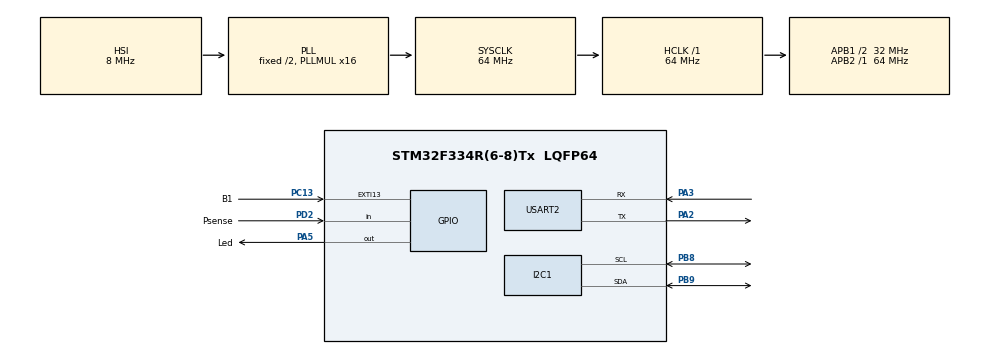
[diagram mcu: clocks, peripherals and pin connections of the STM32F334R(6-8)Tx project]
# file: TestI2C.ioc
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Dma.I2C1_RX.0.Direction=DMA_PERIPH_TO_MEMORY
Dma.I2C1_RX.0.Instance=DMA1_Channel5
Dma.I2C1_RX.0.MemDataAlignment=DMA_MDATAALIGN_BYTE
Dma.I2C1_RX.0.MemInc=DMA_MINC_ENABLE
Dma.I2C1_RX.0.Mode=DMA_NORMAL
Dma.I2C1_RX.0.PeriphDataAlignment=DMA_PDATAALIGN_BYTE
Dma.I2C1_RX.0.PeriphInc=DMA_PINC_DISABLE
Dma.I2C1_RX.0.Priority=DMA_PRIORITY_LOW
Dma.Request0=I2C1_RX
I2C1.Speed=100
I2C1.Timing=0x2000090E
Mcu.Family=STM32F3
Mcu.Name=STM32F334R(6-8)Tx
Mcu.Package=LQFP64
NVIC.DMA1_Channel5_IRQn=true\:0\:0\:false\:false\:true\:false\:true
NVIC.EXTI15_10_IRQn=true\:0\:0\:false\:false\:true\:true\:true
NVIC.I2C1_EV_IRQn=true\:0\:0\:false\:false\:true\:true\:true
NVIC.PriorityGroup=NVIC_PRIORITYGROUP_4
NVIC.TIM1_BRK_TIM15_IRQn=true\:0\:0\:false\:false\:true\:true\:true
NVIC.TIM1_CC_IRQn=true\:0\:0\:false\:false\:true\:true\:true
NVIC.TIM1_TRG_COM_TIM17_IRQn=true\:0\:0\:false\:false\:true\:true\:true
NVIC.TIM1_UP_TIM16_IRQn=true\:0\:0\:false\:false\:true\:true\:true
NVIC.USART2_IRQn=true\:0\:0\:false\:false\:true\:true\:true
PA2.Mode=Asynchronous
PA2.Signal=USART2_TX
PA3.Mode=Asynchronous
PA3.Signal=USART2_RX
PA5.GPIO_Label=Led
PA5.Signal=GPIO_Output
PB8.Mode=I2C
PB8.Signal=I2C1_SCL
PB9.Mode=I2C
PB9.Signal=I2C1_SDA
PC13.GPIO_Label=B1
PC13.GPIO_ModeDefaultEXTI=GPIO_MODE_IT_FALLING
PC13.Signal=GPXTI13
PD2.GPIO_Label=Psense
PD2.Signal=GPIO_Input
ProjectManager.HeapSize=0x200
ProjectManager.StackSize=0x400
ProjectManager.TargetToolchain=Other Toolchains (GPDSC)
RCC.AHBFreq_Value=64000000
RCC.APB1CLKDivider=RCC_HCLK_DIV2
RCC.APB1Freq_Value=32000000
RCC.APB1TimFreq_Value=64000000
RCC.APB2Freq_Value=64000000
RCC.APB2TimFreq_Value=64000000
RCC.CortexFreq_Value=64000000
RCC.HCLKFreq_Value=64000000
RCC.HSE_VALUE=8000000
RCC.HSI_VALUE=8000000
RCC.LSE_VALUE=32768
RCC.PLLMUL=RCC_PLL_MUL16
RCC.SYSCLKFreq_VALUE=64000000
RCC.SYSCLKSourceVirtual=RCC_SYSCLKSOURCE_PLLCLK
TIM1.Channel-Output\ Compare1\ No\ Output=TIM_CHANNEL_1
TIM1.Period=9999
TIM1.Prescaler=63
TIM1.Pulse-Output\ Compare1\ No\ Output=4999
USART2.VirtualMode-Asynchronous=VM_ASYNC
USART2.WordLength=WORDLENGTH_8B
VP_TIM1_VS_ClockSourceINT.Mode=Internal
VP_TIM1_VS_no_output1.Mode=Output Compare1 No Output
board=TestI2C

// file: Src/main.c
/* USER CODE BEGIN Header */
/**
  ******************************************************************************
  * @file           : main.c
  * @brief          : Main program body
  ******************************************************************************
  * @attention
  *
  * <h2><center>&copy; Copyright (c) 2020 STMicroelectronics.
  * All rights reserved.</center></h2>
  *
  * This software component is licensed by ST under BSD 3-Clause license,
  * the "License"; You may not use this file except in compliance with the
  * License. You may obtain a copy of the License at:
  *                        opensource.org/licenses/BSD-3-Clause
  *
  ******************************************************************************
  */
/* USER CODE END Header */

#include "main.h"
#include "dma.h"
#include "i2c.h"
#include "tim.h"
#include "usart.h"
#include "gpio.h"

/* USER CODE BEGIN Includes */
#include "SensorReport.h"

/* USER CODE END Includes */

void SystemClock_Config(void);

int main(void)
{
  /* USER CODE BEGIN 1 */
	DWT->CYCCNT = 0;
	// Enable hi resolution counter
	DWT->CTRL &= ~0x00000001;
	DWT->CTRL |= 0x00000001;
  /* USER CODE END 1 */

  /* MCU Configuration--------------------------------------------------------*/

  /* Reset of all peripherals, Initializes the Flash interface and the Systick. */
  HAL_Init();

  /* Configure the system clock */
  SystemClock_Config();

  /* Initialize all configured peripherals */
  MX_GPIO_Init();
  MX_DMA_Init();
  MX_I2C1_Init();
  MX_TIM1_Init();
  MX_USART2_UART_Init();
  /* USER CODE BEGIN 2 */

  initializeSensorReport();

	HAL_TIM_Base_Start_IT(&htim1); // will call the PeriodElapsed IT

  /* USER CODE END 2 */

  /* Infinite loop */
  while (1)
  {

    /* USER CODE BEGIN 3 */

	  doReport();
	  HAL_Delay(1000);
  }
  /* USER CODE END 3 */
}

void SystemClock_Config(void)
{
  RCC_OscInitTypeDef RCC_OscInitStruct = {0};
  RCC_ClkInitTypeDef RCC_ClkInitStruct = {0};
  RCC_PeriphCLKInitTypeDef PeriphClkInit = {0};

  /** Initializes the CPU, AHB and APB busses clocks
  */
  RCC_OscInitStruct.OscillatorType = RCC_OSCILLATORTYPE_HSI;
  RCC_OscInitStruct.HSIState = RCC_HSI_ON;
  RCC_OscInitStruct.HSICalibrationValue = RCC_HSICALIBRATION_DEFAULT;
  RCC_OscInitStruct.PLL.PLLState = RCC_PLL_ON;
  RCC_OscInitStruct.PLL.PLLSource = RCC_PLLSOURCE_HSI;
  RCC_OscInitStruct.PLL.PLLMUL = RCC_PLL_MUL16;
  if (HAL_RCC_OscConfig(&RCC_OscInitStruct) != HAL_OK)
  {
    Error_Handler();
  }
  /** Initializes the CPU, AHB and APB busses clocks
  */
  RCC_ClkInitStruct.ClockType = RCC_CLOCKTYPE_HCLK|RCC_CLOCKTYPE_SYSCLK
                              |RCC_CLOCKTYPE_PCLK1|RCC_CLOCKTYPE_PCLK2;
  RCC_ClkInitStruct.SYSCLKSource = RCC_SYSCLKSOURCE_PLLCLK;
  RCC_ClkInitStruct.AHBCLKDivider = RCC_SYSCLK_DIV1;
  RCC_ClkInitStruct.APB1CLKDivider = RCC_HCLK_DIV2;
  RCC_ClkInitStruct.APB2CLKDivider = RCC_HCLK_DIV1;

  if (HAL_RCC_ClockConfig(&RCC_ClkInitStruct, FLASH_LATENCY_2) != HAL_OK)
  {
    Error_Handler();
  }
  PeriphClkInit.PeriphClockSelection = RCC_PERIPHCLK_I2C1|RCC_PERIPHCLK_TIM1;
  PeriphClkInit.I2c1ClockSelection = RCC_I2C1CLKSOURCE_HSI;
  PeriphClkInit.Tim1ClockSelection = RCC_TIM1CLK_HCLK;
  if (HAL_RCCEx_PeriphCLKConfig(&PeriphClkInit) != HAL_OK)
  {
    Error_Handler();
  }
}

/* USER CODE BEGIN 4 */
void delay_us_DWT(unsigned long  uSec)
{
	volatile uint32_t cycles = (SystemCoreClock / 1000000L)*uSec;
	volatile uint32_t start = DWT->CYCCNT;
	do {
	} while (DWT->CYCCNT - start < cycles);
}

#define SLOTS 4
static volatile uint32_t start[4];

void start_us_DWT(int slot)
{
	if (slot < SLOTS) {
		start[slot] = DWT->CYCCNT;
	}
}

unsigned int get_us_DWT(int slot)
{
	if (slot < SLOTS) {
		unsigned long long val;
		if (DWT->CYCCNT < start[slot]) {
			val = (DWT->CYCCNT - start[slot]) + (1LL << 32);
		} else {
			val = (DWT->CYCCNT - start[slot]);
		}
		return val * 1000000L / SystemCoreClock;
	}
	return 0xFFFFFFFF;
}
/* USER CODE END 4 */

void Error_Handler(void)
{
}

/************************ (C) COPYRIGHT STMicroelectronics *****END OF FILE****/
